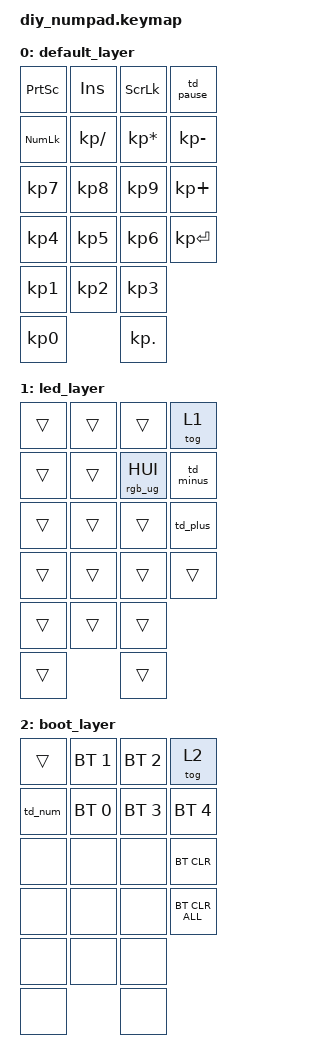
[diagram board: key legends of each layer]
#include <behaviors.dtsi>
#include <dt-bindings/zmk/keys.h>
#include <dt-bindings/zmk/rgb.h>
#include <dt-bindings/zmk/bt.h>

/ {
    macros {
        rgb_next: rgb_next {
            compatible = "zmk,behavior-macro";
            #binding-cells = <0>;
            bindings = <&rgb_ug RGB_ON>, <&rgb_ug RGB_EFF>;
        };
        bri_up5: bri_up5 {
            compatible = "zmk,behavior-macro";
            #binding-cells = <0>;
            bindings =
                <&rgb_ug RGB_BRI>,
                <&rgb_ug RGB_BRI>,
                <&rgb_ug RGB_BRI>,
                <&rgb_ug RGB_BRI>,
                <&rgb_ug RGB_BRI>;
        };
        bri_dn5: bri_dn5 {
            compatible = "zmk,behavior-macro";
            #binding-cells = <0>;
            bindings =
                <&rgb_ug RGB_BRD>,
                <&rgb_ug RGB_BRD>,
                <&rgb_ug RGB_BRD>,
                <&rgb_ug RGB_BRD>,
                <&rgb_ug RGB_BRD>;
        };
        spd_up5: spd_up5 {
            compatible = "zmk,behavior-macro";
            #binding-cells = <0>;
            bindings =
                <&rgb_ug RGB_SPI>,
                <&rgb_ug RGB_SPI>,
                <&rgb_ug RGB_SPI>,
                <&rgb_ug RGB_SPI>,
                <&rgb_ug RGB_SPI>;
        };
        spd_dn5: spd_dn5 {
            compatible = "zmk,behavior-macro";
            #binding-cells = <0>;
            bindings =
                <&rgb_ug RGB_SPD>,
                <&rgb_ug RGB_SPD>,
                <&rgb_ug RGB_SPD>,
                <&rgb_ug RGB_SPD>,
                <&rgb_ug RGB_SPD>;
        };
    };

    behaviors {
        // 1-tap = PAUSE, 2-tap = next effect, 3-tap = LED mode, 4-tap = Boot mode
        td_pause: td_pause {
            compatible = "zmk,behavior-tap-dance";
            #binding-cells = <0>;
            tapping-term-ms = <300>;
            bindings = <&kp PAUSE_BREAK>, <&rgb_next>, <&tog 1>, <&tog 2>;
        };
        // Phím NUM trong boot mode: 1-tap = reset, 2-tap = bootloader
        td_num: td_num {
            compatible = "zmk,behavior-tap-dance";
            #binding-cells = <0>;
            tapping-term-ms = <500>;
            bindings = <&sys_reset>, <&bootloader>;
        };
        // Phím + trong LED mode: 1-tap = brightness +5, 2-tap = speed +5
        td_plus: td_plus {
            compatible = "zmk,behavior-tap-dance";
            #binding-cells = <0>;
            tapping-term-ms = <300>;
            bindings = <&bri_up5>, <&spd_up5>;
        };
        // Phím - trong LED mode: 1-tap = brightness -5, 2-tap = speed -5
        td_minus: td_minus {
            compatible = "zmk,behavior-tap-dance";
            #binding-cells = <0>;
            tapping-term-ms = <300>;
            bindings = <&bri_dn5>, <&spd_dn5>;
        };
    };

    keymap {
        compatible = "zmk,keymap";

        default_layer {
            /*
            * ┌────────┬──────┬────────┬─────────┐
            * │ PRTSCR │ INS  │ SCRLK  │  PAUSE* │
            * ├────────┼──────┼────────┼─────────┤
            * │  NUM   │  /   │   *    │    -    │
            * ├────────┼──────┼────────┼─────────┤
            * │   7    │  8   │   9    │    +    │
            * ├────────┼──────┼────────┼─────────┤
            * │   4    │  5   │   6    │  ENTER  │
            * ├────────┼──────┼────────┼─────────┘
            * │   1    │  2   │   3    │         
            * ├────────┼──────┼────────┤
            * │   0    │      │  DEL   │  
            * └────────┴──────┴────────┘
            * (21 keys total)
            */
            bindings = <
                &kp PSCRN   &kp INS     &kp SLCK    &td_pause
                &kp KP_NLCK &kp KP_SLASH &kp KP_ASTERISK &kp KP_MINUS
                &kp KP_N7   &kp KP_N8   &kp KP_N9   &kp KP_PLUS
                &kp KP_N4   &kp KP_N5   &kp KP_N6   &kp KP_ENTER
                &kp KP_N1   &kp KP_N2   &kp KP_N3
                &kp KP_N0               &kp KP_DOT
            >;
        };

        led_layer {
            /*
             * LED EDIT MODE (vào bằng triple-tap PAUSE)
             * ┌────────┬──────┬────────┬─────────┐
             * │ [pass] │[pass]│ [pass] │  EXIT   │  <- 1-tap PAUSE để thoát
             * ├────────┼──────┼────────┼─────────┤
             * │ [pass] │[pass]│  HUE+  │   BRI-  │  <- * đổi màu, - giảm sáng
             * ├────────┼──────┼────────┼─────────┤
             * │ [pass] │[pass]│ [pass] │  BRI+   │  <- + tăng sáng
             * ├────────┼──────┼────────┼─────────┤
             * │ [pass] │[pass]│ [pass] │ [pass]  │
             * ├────────┼──────┼────────┤         │
             * │ [pass] │[pass]│ [pass] │         │
             * ├─────────────┬─┴──────┐ │         │
             * │    [pass]   │ [pass] │ │         │
             * └─────────────┴────────┘ └─────────┘
             * BRI+/-: 1-tap = 1 bước, 2-tap = 5 bước
             */
            bindings = <
                &trans      &trans      &trans          &tog 1
                &trans      &trans      &rgb_ug RGB_HUI &td_minus
                &trans      &trans      &trans          &td_plus
                &trans      &trans      &trans          &trans
                &trans      &trans      &trans
                &trans                  &trans
            >;
        };

        boot_layer {
            /*
             * BOOT MODE (vào bằng 4-tap PAUSE)
             * ┌──────────┬──────────┬──────────┬──────────┐
             * │  [pass]  │ BT_SEL 1 │ BT_SEL 2 │   EXIT   │  <- Chọn profile BT 1/2, thoát
             * ├──────────┼──────────┼──────────┼──────────┤
             * │   NUM*   │ BT_SEL 0 │ BT_SEL 3 │ BT_SEL 4 │  <- 1-tap=reset, 2-tap=boot
             * ├──────────┼──────────┼──────────┼──────────┤
             * │  [none]  │  [none]  │  [none]  │ BT_CLR   │  <- Xóa bond profile hiện tại
             * ├──────────┼──────────┼──────────┼──────────┤
             * │  [none]  │  [none]  │  [none]  │BT_CLR_ALL│  <- Xóa TẤT CẢ bond
             * ├──────────┼──────────┼──────────┤          │
             * │  [none]  │  [none]  │  [none]  │          │
             * ├──────────┴──────────┼──────────┤          │
             * │       [none]        │  [none]  │          │
             * └─────────────────────┴──────────┴──────────┘
             * BT_SEL 0 = PC (mặc định)
             * BT_SEL 1 = Điện thoại / thiết bị 2
             * BT_SEL 2-4 = Thiết bị khác
             */
            bindings = <
                &trans        &bt BT_SEL 1  &bt BT_SEL 2  &tog 2
                &td_num       &bt BT_SEL 0  &bt BT_SEL 3  &bt BT_SEL 4
                &none         &none         &none         &bt BT_CLR
                &none         &none         &none         &bt BT_CLR_ALL
                &none         &none         &none
                &none                       &none
            >;
        };
    };
};
